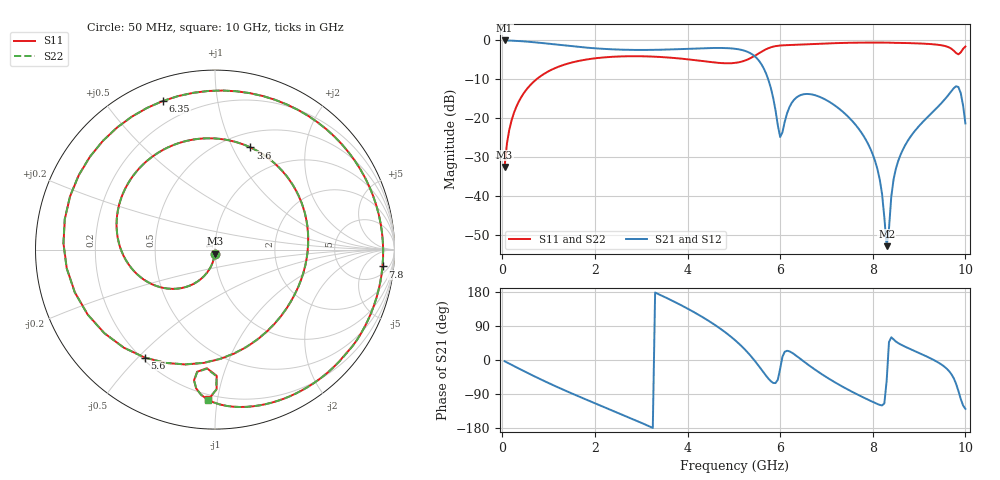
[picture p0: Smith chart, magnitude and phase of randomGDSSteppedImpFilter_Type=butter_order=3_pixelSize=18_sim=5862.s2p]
! freq	dB(S11)	phase(S11)	dB(S12)	phase(S12)
!  dB(S21)	phase(S21)	dB(S22)	phase(S22)
!S-par simulation data
#  GHz  S  DB  R 50
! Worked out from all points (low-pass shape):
!   200 points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, 50 MHz to 10 GHz, reference 50 ohm
!   highest |S21| = 0.00 dB at 50 MHz (marker M1); lowest = -52.9 dB at 8.3 GHz (marker M2)
!   |S21| within 3 dB of the highest: start of sweep to 5.309 GHz
!   lowest |S11| = -32.5 dB at 50 MHz (marker M3), VSWR 1.05, Z = 49.8 - j2.35 ohm
!   |S11| at or under -10 dB: start of sweep to 738.2 MHz
!   |S22| runs from -32.5 to -0.5 dB; largest |S21 - S12| = 0
!   S11 on the Smith chart (normalised r, x): 50 MHz: 1.00, -0.05; 3.6 GHz: 0.66, +1.18; 5.6 GHz: 0.21, -0.52; 6.35 GHz: 0.10, +0.70; 7.8 GHz: 9, -14; 10 GHz: 0.17, -0.94
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0.05  -32.53 -93.2  -0.00 -3.2  -0.00 -3.2  -32.53 -93.2
0.2  -20.58 -103.1  -0.06 -12.7  -0.06 -12.7  -20.58 -103.1
0.5  -12.97 -121.9  -0.27 -31.4  -0.27 -31.4  -12.97 -121.9
1.75  -5.04 168.2  -1.78 -101.3  -1.78 -101.3  -5.04 168.1
3.4  -4.24 82.3  -2.39 172.3  -2.39 172.3  -4.25 82.0
3.6  -4.40 70.8  -2.33 160.6  -2.33 160.6  -4.40 70.4
4.5  -5.56 10.9  -1.95 99.8  -1.95 99.8  -5.56 10.3
5.05  -5.74 -39.8  -2.18 49.8  -2.18 49.8  -5.74 -40.5
5.35  -4.61 -79.3  -3.24 12.9  -3.24 12.9  -4.60 -79.8
5.6  -2.88 -123.1  -6.21 -25.9  -6.21 -25.9  -2.87 -123.3
6  -1.31 159.7  -24.84 -23.0  -24.84 -23.0  -1.30 159.8
6.35  -1.14 109.4  -14.69 11.0  -14.69 11.0  -1.14 109.6
6.7  -0.95 72.6  -13.93 -20.9  -13.93 -20.9  -0.95 72.8
7.25  -0.67 28.8  -17.34 -63.6  -17.34 -63.6  -0.68 28.9
7.8  -0.56 -5.8  -24.54 -99.0  -24.54 -99.0  -0.56 -5.7
8.15  -0.55 -24.7  -35.73 -118.5  -35.73 -118.5  -0.55 -24.6
8.3  -0.56 -32.4  -52.92 -54.8  -52.92 -54.8  -0.56 -32.3
8.35  -0.57 -35.0  -48.42 47.3  -48.42 47.3  -0.57 -34.9
8.5  -0.62 -42.1  -32.94 48.7  -32.94 48.7  -0.61 -42.1
8.85  -0.71 -58.3  -24.18 26.6  -24.18 26.6  -0.71 -58.3
9.8  -3.25 -98.3  -11.78 -63.1  -11.78 -63.1  -3.22 -98.3
10  -1.56 -92.5  -21.34 -128.9  -21.34 -128.9  -1.55 -92.6
